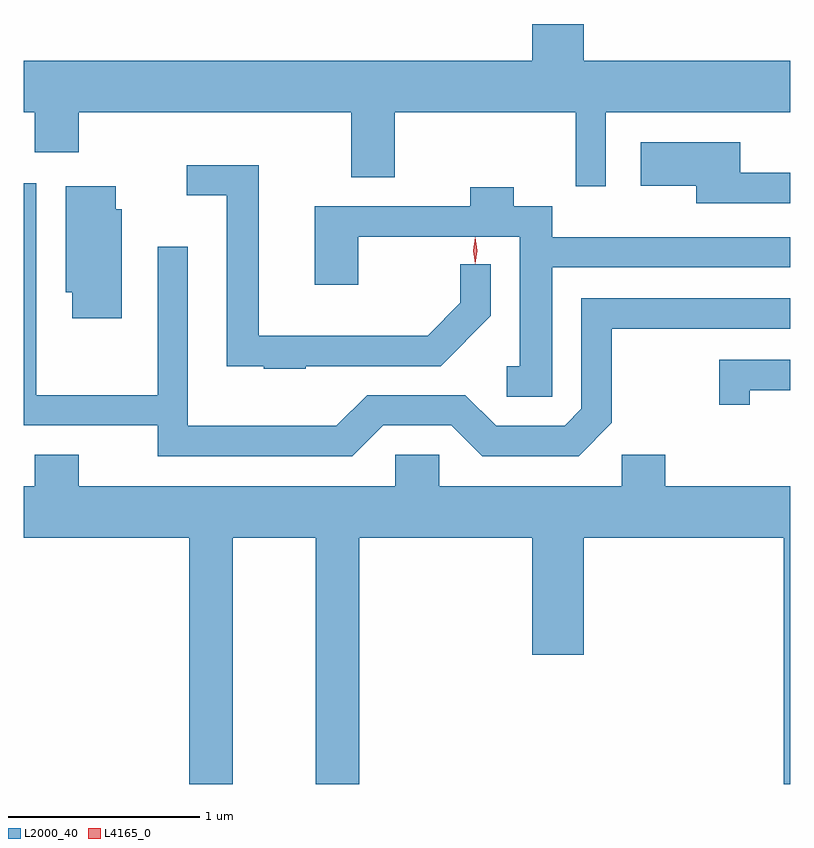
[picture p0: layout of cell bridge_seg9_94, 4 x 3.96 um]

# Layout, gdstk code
import gdstk
lib = gdstk.Library(unit=1e-6, precision=1e-09)
def P(c, l, *ps):  # polygons
    for p in ps: c.add(gdstk.Polygon(p, *l))
L2000_40 = (2000, 40)
L4165_0 = (4165, 0)

bridge_seg9_94 = lib.new_cell('bridge_seg9_94')
P(bridge_seg9_94, L2000_40, [(1773.784,1996.715),(1773.516,1996.715),(1773.516,1996.524),(1770.862,1996.524),(1770.862,1996.256),(1770.921,1996.256),(1770.921,1996.046),(1771.149,1996.046),(1771.149,1996.256),(1772.571,1996.256),(1772.571,1995.916),(1772.799,1995.916),(1772.799,1996.256),(1773.741,1996.256),(1773.741,1995.868),(1773.899,1995.868),(1773.899,1996.256),(1774.862,1996.256),(1774.862,1996.524),(1773.784,1996.524)],
  [(1774.862,1995.939),(1774.599,1995.939),(1774.599,1996.099),(1774.081,1996.099),(1774.081,1995.871),(1774.371,1995.871),(1774.371,1995.781),(1774.862,1995.781)],
  [(1772.335,1994.931),(1773.037,1994.931),(1773.299,1995.194),(1773.299,1995.463),(1773.141,1995.463),(1773.141,1995.262),(1772.969,1995.089),(1772.089,1995.089),(1772.089,1995.979),(1771.713,1995.979),(1771.713,1995.821),(1771.921,1995.821),(1771.921,1994.931),(1772.115,1994.931),(1772.115,1994.916),(1772.335,1994.916)],
  [(1772.737,1994.621),(1773.094,1994.621),(1773.254,1994.461),(1773.757,1994.461),(1773.929,1994.634),(1773.929,1995.126),(1774.862,1995.126),(1774.862,1995.284),(1773.771,1995.284),(1773.771,1994.707),(1773.684,1994.619),(1773.327,1994.619),(1773.167,1994.779),(1772.654,1994.779),(1772.494,1994.619),(1771.719,1994.619),(1771.719,1995.553),(1771.561,1995.553),(1771.561,1994.779),(1770.929,1994.779),(1770.929,1995.884),(1770.862,1995.884),(1770.862,1994.621),(1771.561,1994.621),(1771.561,1994.461),(1772.577,1994.461)],
  [(1771.374,1995.749),(1771.344,1995.749),(1771.344,1995.869),(1771.081,1995.869),(1771.081,1995.316),(1771.116,1995.316),(1771.116,1995.181),(1771.374,1995.181)],
  [(1773.619,1995.446),(1774.862,1995.446),(1774.862,1995.604),(1773.619,1995.604),(1773.619,1995.764),(1773.419,1995.764),(1773.419,1995.864),(1773.191,1995.864),(1773.191,1995.764),(1772.381,1995.764),(1772.381,1995.356),(1772.609,1995.356),(1772.609,1995.606),(1773.451,1995.606),(1773.451,1994.929),(1773.383,1994.929),(1773.383,1994.771),(1773.619,1994.771)],
  [(1774.649,1994.806),(1774.862,1994.806),(1774.862,1994.964),(1774.491,1994.964),(1774.491,1994.728),(1774.649,1994.728)],
  [(1771.954,1994.036),(1772.386,1994.036),(1772.386,1992.751),(1772.614,1992.751),(1772.614,1994.036),(1773.516,1994.036),(1773.516,1993.426),(1773.784,1993.426),(1773.784,1994.036),(1774.826,1994.036),(1774.826,1992.751),(1774.862,1992.751),(1774.862,1994.304),(1774.209,1994.304),(1774.209,1994.469),(1773.981,1994.469),(1773.981,1994.304),(1773.029,1994.304),(1773.029,1994.469),(1772.801,1994.469),(1772.801,1994.304),(1771.149,1994.304),(1771.149,1994.469),(1770.921,1994.469),(1770.921,1994.304),(1770.862,1994.304),(1770.862,1994.036),(1771.726,1994.036),(1771.726,1992.751),(1771.954,1992.751)])
P(bridge_seg9_94, L4165_0, [(1773.218,1995.463),(1773.218,1995.464),(1773.208,1995.533),(1773.218,1995.602),(1773.218,1995.603),(1773.219,1995.602),(1773.228,1995.533),(1773.219,1995.464)])

lib.write_gds('bridge_seg9_94.gds')
